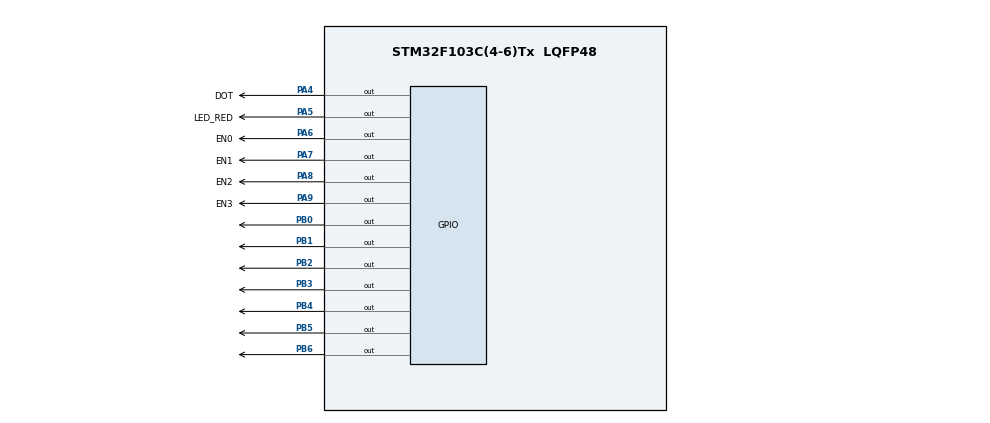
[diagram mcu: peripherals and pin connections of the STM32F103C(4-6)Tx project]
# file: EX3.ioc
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Mcu.Family=STM32F1
Mcu.Name=STM32F103C(4-6)Tx
Mcu.Package=LQFP48
NVIC.PriorityGroup=NVIC_PRIORITYGROUP_4
NVIC.TIM2_IRQn=true\:0\:0\:false\:false\:true\:true\:true
PA4.GPIO_Label=DOT
PA4.Signal=GPIO_Output
PA5.GPIO_Label=LED_RED
PA5.Signal=GPIO_Output
PA6.GPIO_Label=EN0
PA6.Signal=GPIO_Output
PA7.GPIO_Label=EN1
PA7.Signal=GPIO_Output
PA8.GPIO_Label=EN2
PA8.Signal=GPIO_Output
PA9.GPIO_Label=EN3
PA9.Signal=GPIO_Output
PB0.Signal=GPIO_Output
PB1.Signal=GPIO_Output
PB2.Signal=GPIO_Output
PB3.Signal=GPIO_Output
PB4.Signal=GPIO_Output
PB5.Signal=GPIO_Output
PB6.Signal=GPIO_Output
ProjectManager.HeapSize=0x200
ProjectManager.StackSize=0x400
ProjectManager.TargetToolchain=STM32CubeIDE
RCC.APB1Freq_Value=8000000
RCC.APB2Freq_Value=8000000
TIM2.Period=9
TIM2.Prescaler=7999
VP_SYS_VS_ND.Mode=No_Debug
VP_TIM2_VS_ClockSourceINT.Mode=Internal
board=custom

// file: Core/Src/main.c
/* USER CODE BEGIN Header */
/**
  ******************************************************************************
  * @file           : main.c
  * @brief          : Main program body
  ******************************************************************************
  * @attention
  *
  * <h2><center>&copy; Copyright (c) 2024 STMicroelectronics.
  * All rights reserved.</center></h2>
  *
  * This software component is licensed by ST under BSD 3-Clause license,
  * the "License"; You may not use this file except in compliance with the
  * License. You may obtain a copy of the License at:
  *                        opensource.org/licenses/BSD-3-Clause
  *
  ******************************************************************************
  */
/* USER CODE END Header */
#include "main.h"
#include "software_timer.h"

TIM_HandleTypeDef htim2;

void SystemClock_Config(void);
static void MX_GPIO_Init(void);
static void MX_TIM2_Init(void);

int main(void)
{

  /* MCU Configuration--------------------------------------------------------*/

  /* Reset of all peripherals, Initializes the Flash interface and the Systick. */
  HAL_Init();

  /* Configure the system clock */
  SystemClock_Config();

  /* Initialize all configured peripherals */
  MX_GPIO_Init();
  MX_TIM2_Init();
  /* USER CODE BEGIN 2 */
  HAL_TIM_Base_Start_IT(&htim2);
  /* USER CODE END 2 */

  /* Infinite loop */
  /* USER CODE BEGIN WHILE */
  void display7SEG(int num){
  	HAL_GPIO_WritePin(GPIOB, GPIO_PIN_0 | GPIO_PIN_1 | GPIO_PIN_2 | GPIO_PIN_3 | GPIO_PIN_4 | GPIO_PIN_5 | GPIO_PIN_6, SET);
  	switch (num) {
  		case 0:
  			HAL_GPIO_WritePin(GPIOB, GPIO_PIN_0 | GPIO_PIN_1 | GPIO_PIN_2 | GPIO_PIN_3 | GPIO_PIN_4 | GPIO_PIN_5, RESET);
  			break;
  		case 1:
  			HAL_GPIO_WritePin(GPIOB, GPIO_PIN_1 | GPIO_PIN_2, RESET);
  			break;
  		case 2:
  			HAL_GPIO_WritePin(GPIOB, GPIO_PIN_0 | GPIO_PIN_1 | GPIO_PIN_3 | GPIO_PIN_4 | GPIO_PIN_6, RESET);
  			break;
  		case 3:
  			HAL_GPIO_WritePin(GPIOB, GPIO_PIN_0 | GPIO_PIN_1 | GPIO_PIN_2 | GPIO_PIN_3 | GPIO_PIN_6, RESET);
  			break;
  		case 4:
  			HAL_GPIO_WritePin(GPIOB, GPIO_PIN_1 | GPIO_PIN_2 | GPIO_PIN_5 | GPIO_PIN_6, RESET);
  			break;
  		case 5:
  			HAL_GPIO_WritePin(GPIOB, GPIO_PIN_0 | GPIO_PIN_2 | GPIO_PIN_3 | GPIO_PIN_5 | GPIO_PIN_6, RESET);
  			break;
  		case 6:
  			HAL_GPIO_WritePin(GPIOB, GPIO_PIN_0 | GPIO_PIN_2 | GPIO_PIN_3 | GPIO_PIN_4 | GPIO_PIN_5 | GPIO_PIN_6, RESET);
  			break;
  		case 7:
  			HAL_GPIO_WritePin(GPIOB, GPIO_PIN_0 | GPIO_PIN_1 | GPIO_PIN_2, RESET);
  			break;
  		case 8:
  			HAL_GPIO_WritePin(GPIOB, GPIO_PIN_0 | GPIO_PIN_1 | GPIO_PIN_2 | GPIO_PIN_3 | GPIO_PIN_4 | GPIO_PIN_5 | GPIO_PIN_6, RESET);
  			break;
  		case 9:
  			HAL_GPIO_WritePin(GPIOB, GPIO_PIN_0 | GPIO_PIN_1 | GPIO_PIN_2 | GPIO_PIN_3 | GPIO_PIN_5 | GPIO_PIN_6, RESET);
  			break;
  	}
  }

  void clear(){
  	HAL_GPIO_WritePin(LED_RED_GPIO_Port, LED_RED_Pin, SET);
  	HAL_GPIO_WritePin(GPIOA, DOT_Pin, SET);
  	HAL_GPIO_WritePin(GPIOA, EN0_Pin | EN1_Pin | EN2_Pin | EN3_Pin , SET);
  	HAL_GPIO_WritePin(GPIOB, GPIO_PIN_All, SET);
  }

  int led_buffer[4] = {6 , 2 , 0 , 5};

  void update7SEG ( int index ) {
  	switch ( index ) {
  		case 0:
  			// Display the first 7 SEG with led_buffer [0]
  			HAL_GPIO_WritePin(GPIOA, EN1_Pin|EN2_Pin|EN3_Pin, GPIO_PIN_SET);
  			display7SEG(led_buffer[0]);
  			HAL_GPIO_WritePin(GPIOA, EN0_Pin, GPIO_PIN_RESET);
  			break ;
  		case 1:
  			// Display the second 7 SEG with led_buffer [1]
  			HAL_GPIO_WritePin(GPIOA, EN0_Pin|EN2_Pin|EN3_Pin, GPIO_PIN_SET);
  			display7SEG(led_buffer[1]);
  			HAL_GPIO_WritePin(GPIOA, EN1_Pin, GPIO_PIN_RESET);
  			break ;
  		case 2:
  			// Display the third 7 SEG with led_buffer [2]
  			HAL_GPIO_WritePin(GPIOA, EN1_Pin|EN0_Pin|EN3_Pin, GPIO_PIN_SET);
  			display7SEG(led_buffer[2]);
  			HAL_GPIO_WritePin(GPIOA, EN2_Pin, GPIO_PIN_RESET);
  			break ;
  		case 3:
  			// Display the forth 7 SEG with led_buffer [3]
  			HAL_GPIO_WritePin(GPIOA, EN1_Pin|EN2_Pin|EN0_Pin, GPIO_PIN_SET);
  			display7SEG(led_buffer[3]);
  			HAL_GPIO_WritePin(GPIOA, EN3_Pin, GPIO_PIN_RESET);
  			break ;
  		default :
  			break ;
  	}
  }
  setTimer1(100);
  setTimer2(50);
  setTimer3(50);
  int index = 0;
  clear();
  while (1)
  {
    /* USER CODE END WHILE */

    /* USER CODE BEGIN 3 */
	  if (timer1_flag == 1){
		  setTimer1(100);
		  HAL_GPIO_TogglePin(GPIOA, LED_RED_Pin);
	  }
	  if (timer3_flag == 1){
		  setTimer3(100);
		  HAL_GPIO_TogglePin(GPIOA, DOT_Pin);
	  }
	  if (timer2_flag == 1){
		  setTimer2(50);
		  if (index == 4) index = 0;
		  update7SEG(index);
		  index = index + 1;
	  }
  }
  /* USER CODE END 3 */
}

void SystemClock_Config(void)
{
  RCC_OscInitTypeDef RCC_OscInitStruct = {0};
  RCC_ClkInitTypeDef RCC_ClkInitStruct = {0};

  /** Initializes the RCC Oscillators according to the specified parameters
  * in the RCC_OscInitTypeDef structure.
  */
  RCC_OscInitStruct.OscillatorType = RCC_OSCILLATORTYPE_HSI;
  RCC_OscInitStruct.HSIState = RCC_HSI_ON;
  RCC_OscInitStruct.HSICalibrationValue = RCC_HSICALIBRATION_DEFAULT;
  RCC_OscInitStruct.PLL.PLLState = RCC_PLL_NONE;
  if (HAL_RCC_OscConfig(&RCC_OscInitStruct) != HAL_OK)
  {
    Error_Handler();
  }
  /** Initializes the CPU, AHB and APB buses clocks
  */
  RCC_ClkInitStruct.ClockType = RCC_CLOCKTYPE_HCLK|RCC_CLOCKTYPE_SYSCLK
                              |RCC_CLOCKTYPE_PCLK1|RCC_CLOCKTYPE_PCLK2;
  RCC_ClkInitStruct.SYSCLKSource = RCC_SYSCLKSOURCE_HSI;
  RCC_ClkInitStruct.AHBCLKDivider = RCC_SYSCLK_DIV1;
  RCC_ClkInitStruct.APB1CLKDivider = RCC_HCLK_DIV1;
  RCC_ClkInitStruct.APB2CLKDivider = RCC_HCLK_DIV1;

  if (HAL_RCC_ClockConfig(&RCC_ClkInitStruct, FLASH_LATENCY_0) != HAL_OK)
  {
    Error_Handler();
  }
}

static void MX_TIM2_Init(void)
{

  TIM_ClockConfigTypeDef sClockSourceConfig = {0};
  TIM_MasterConfigTypeDef sMasterConfig = {0};

  htim2.Instance = TIM2;
  htim2.Init.Prescaler = 7999;
  htim2.Init.CounterMode = TIM_COUNTERMODE_UP;
  htim2.Init.Period = 9;
  htim2.Init.ClockDivision = TIM_CLOCKDIVISION_DIV1;
  htim2.Init.AutoReloadPreload = TIM_AUTORELOAD_PRELOAD_DISABLE;
  if (HAL_TIM_Base_Init(&htim2) != HAL_OK)
  {
    Error_Handler();
  }
  sClockSourceConfig.ClockSource = TIM_CLOCKSOURCE_INTERNAL;
  if (HAL_TIM_ConfigClockSource(&htim2, &sClockSourceConfig) != HAL_OK)
  {
    Error_Handler();
  }
  sMasterConfig.MasterOutputTrigger = TIM_TRGO_RESET;
  sMasterConfig.MasterSlaveMode = TIM_MASTERSLAVEMODE_DISABLE;
  if (HAL_TIMEx_MasterConfigSynchronization(&htim2, &sMasterConfig) != HAL_OK)
  {
    Error_Handler();
  }

}

static void MX_GPIO_Init(void)
{
  GPIO_InitTypeDef GPIO_InitStruct = {0};

  /* GPIO Ports Clock Enable */
  __HAL_RCC_GPIOA_CLK_ENABLE();
  __HAL_RCC_GPIOB_CLK_ENABLE();

  /*Configure GPIO pin Output Level */
  HAL_GPIO_WritePin(GPIOA, DOT_Pin|LED_RED_Pin|EN0_Pin|EN1_Pin
                          |EN2_Pin|EN3_Pin, GPIO_PIN_RESET);

  /*Configure GPIO pin Output Level */
  HAL_GPIO_WritePin(GPIOB, GPIO_PIN_0|GPIO_PIN_1|GPIO_PIN_2|GPIO_PIN_3
                          |GPIO_PIN_4|GPIO_PIN_5|GPIO_PIN_6, GPIO_PIN_RESET);

  /*Configure GPIO pins : DOT_Pin LED_RED_Pin EN0_Pin EN1_Pin
                           EN2_Pin EN3_Pin */
  GPIO_InitStruct.Pin = DOT_Pin|LED_RED_Pin|EN0_Pin|EN1_Pin
                          |EN2_Pin|EN3_Pin;
  GPIO_InitStruct.Mode = GPIO_MODE_OUTPUT_PP;
  GPIO_InitStruct.Pull = GPIO_NOPULL;
  GPIO_InitStruct.Speed = GPIO_SPEED_FREQ_LOW;
  HAL_GPIO_Init(GPIOA, &GPIO_InitStruct);

  /*Configure GPIO pins : PB0 PB1 PB2 PB3
                           PB4 PB5 PB6 */
  GPIO_InitStruct.Pin = GPIO_PIN_0|GPIO_PIN_1|GPIO_PIN_2|GPIO_PIN_3
                          |GPIO_PIN_4|GPIO_PIN_5|GPIO_PIN_6;
  GPIO_InitStruct.Mode = GPIO_MODE_OUTPUT_PP;
  GPIO_InitStruct.Pull = GPIO_NOPULL;
  GPIO_InitStruct.Speed = GPIO_SPEED_FREQ_LOW;
  HAL_GPIO_Init(GPIOB, &GPIO_InitStruct);

}

/* USER CODE BEGIN 4 */
void HAL_TIM_PeriodElapsedCallback(TIM_HandleTypeDef *htim){
	timerRun();
}
/* USER CODE END 4 */

void Error_Handler(void)
{
  __disable_irq();
  while (1)
  {
  }
}

/************************ (C) COPYRIGHT STMicroelectronics *****END OF FILE****/
